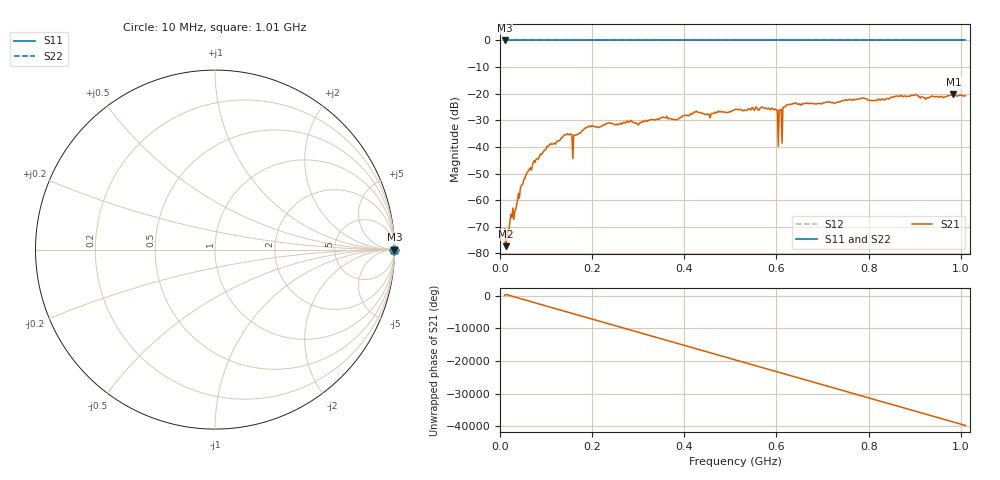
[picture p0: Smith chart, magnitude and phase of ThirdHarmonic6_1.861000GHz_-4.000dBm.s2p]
! 8/16/2025 10:30:10 PM
! C:\ANRITSUVNA\TEMP\TEMP.S2P
! CHANNEL.1
! TR.MEASUREMENT
! RAW.DATA
! RF.CORRECTION.OFF
! AVERAGING.OFF
! IF.BANDWIDTH: 5KHZ
! SWEEPTYPE:  FREQ.SWEEP(Linear)
! Reference Plane Port Info
! PORT:  PORT1  PORT2
! DISTANCE:  0  m  0  m
! TIME:  0  s  0  s
! PHASE.OFFSET:  0  deg.  0  deg.
! LOSS:  0  dB  0  dB
! REF.LOSS:  0  dB  0  dB
! REF.FREQ:  0  Hz  0  Hz
! Power Info
! POWER:  -20  dBm  -20  dBm
! EFF.POWER:  -20  dBm  -20  dBm
! SOURCE.ATTEN:  0  dB  0  dB
! TEST.ATTEN:  0  dB  0  dB
# GHZ S RI R 50.0
! FREQ.GHZ  S11RE  S11IM  S21RE  S21IM  S12RE  S12IM  S22RE  S22IM
!; PortSelection: Port_12
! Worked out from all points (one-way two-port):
!   501 points, 10 MHz to 1.01 GHz, reference 50 ohm
!   highest |S21| = -20.28 dB at 984 MHz (marker M1); lowest = -77.3 dB at 12 MHz (marker M2)
!   lowest |S11| = 0.0 dB at 10 MHz (marker M3)
!   |S11| at or under -10 dB: nowhere
!   |S22| runs from 0.0 to 0.0 dB; largest |S21 - S12| = 1.1
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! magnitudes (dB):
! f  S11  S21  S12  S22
! 10 MHz  0.0  -70.7  0.0  0.0
! 12 MHz  0.0  -77.3  0.0  0.0
! 16 MHz  0.0  -71.0  0.0  0.0
! 24 MHz  0.0  -65.3  0.0  0.0
! 34 MHz  0.0  -63.6  0.0  0.0
! 48 MHz  0.0  -54.2  0.0  0.0
! 76 MHz  0.0  -45.8  0.0  0.0
! 106 MHz  0.0  -39.4  0.0  0.0
! 144 MHz  0.0  -35.3  0.0  0.0
! 162 MHz  0.0  -35.5  0.0  0.0
! 178 MHz  0.0  -33.9  0.0  0.0
! 344 MHz  0.0  -29.7  0.0  0.0
! 510 MHz  0.0  -25.9  0.0  0.0
! 594 MHz  0.0  -26.0  0.0  0.0
! 606 MHz  0.0  -26.2  0.0  0.0
! 608 MHz  0.0  -26.1  0.0  0.0
! 610 MHz  0.0  -25.8  0.0  0.0
! 618 MHz  0.0  -25.0  0.0  0.0
! 678 MHz  0.0  -23.7  0.0  0.0
! 844 MHz  0.0  -22.0  0.0  0.0
! 984 MHz  0.0  -20.3  0.0  0.0
! 1.01 GHz  0.0  -20.7  0.0  0.0
